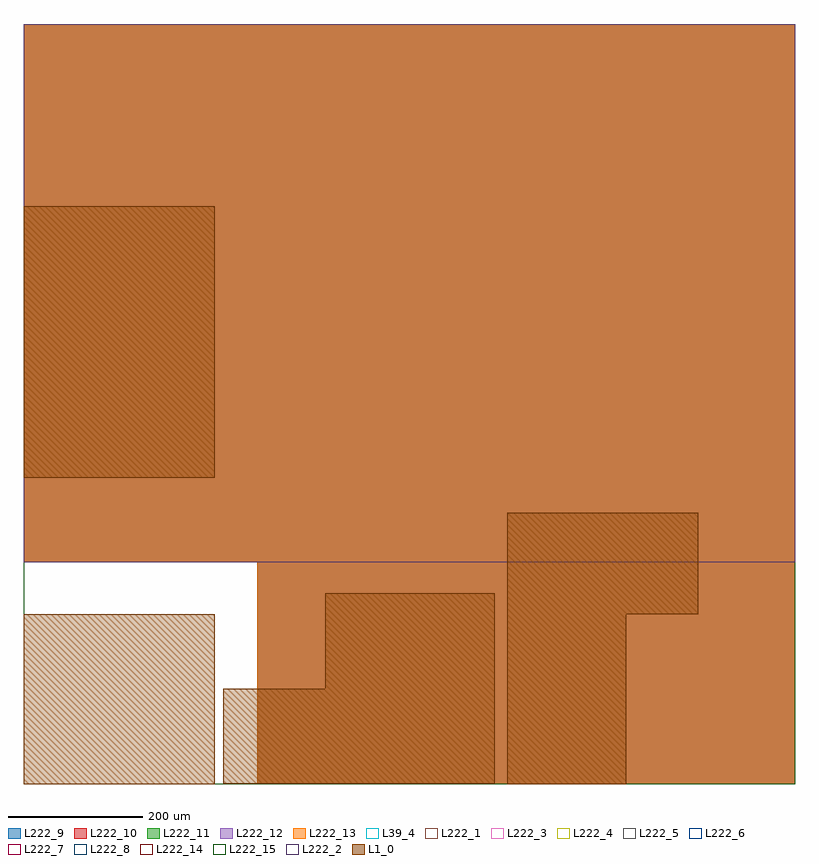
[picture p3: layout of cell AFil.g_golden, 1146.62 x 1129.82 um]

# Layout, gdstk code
import gdstk
lib = gdstk.Library(unit=1e-6, precision=1e-09)
def R(c, l, rs):  # rectangles x0, y0, x1, y1
    for r in rs: c.add(gdstk.rectangle(r[:2], r[2:], *l))
def A(c, l, x, y, w, h, nx, ny, dx, dy):  # array of equal rectangles
    R(c, l, [(x+i*dx, y+j*dy, x+i*dx+w, y+j*dy+h) for i in range(nx) for j in range(ny)])
L1_0 = (1, 0)
L39_4 = (39, 4)
L222_1 = (222, 1)
L222_2 = (222, 2)
L222_3 = (222, 3)
L222_4 = (222, 4)
L222_5 = (222, 5)
L222_6 = (222, 6)
L222_7 = (222, 7)
L222_8 = (222, 8)
L222_9 = (222, 9)
L222_10 = (222, 10)
L222_11 = (222, 11)
L222_12 = (222, 12)
L222_13 = (222, 13)
L222_14 = (222, 14)
L222_15 = (222, 15)

afil_g_golden = lib.new_cell('AFil.g_golden')
A(afil_g_golden, L1_0, 0, 0, 35, 50, 8, 5, 35.5, 50.5)
A(afil_g_golden, L1_0, 718.9, 0, 35, 50, 5, 5, 35.5, 50.5)
A(afil_g_golden, L1_0, 296.58, 0.03, 50, 35, 8, 4, 50.5, 35.5)
A(afil_g_golden, L1_0, 448.08, 142.03, 50, 35, 5, 4, 50.5, 35.5)
A(afil_g_golden, L1_0, 718.9, 252.5, 35, 50, 8, 3, 35.5, 50.5)
A(afil_g_golden, L1_0, 0, 455.31, 35, 50, 8, 8, 35.5, 50.5)
R(afil_g_golden, L39_4, [(0,0,1146.62,1129.82)])
R(afil_g_golden, L222_1, [(0,0,1146.62,1129.82)])
R(afil_g_golden, L222_2, [(0,329.82,800,1129.82), (346.62,329.82,1146.62,1129.82)])
R(afil_g_golden, L222_3, [(0,0,1146.62,1129.82)])
R(afil_g_golden, L222_4, [(0,0,1146.62,1129.82)])
R(afil_g_golden, L222_5, [(0,0,1146.62,1129.82)])
R(afil_g_golden, L222_6, [(0,0,1146.62,1129.82)])
R(afil_g_golden, L222_7, [(0,0,1146.62,1129.82)])
R(afil_g_golden, L222_8, [(0,0,1146.62,1129.82)])
R(afil_g_golden, L222_9, [(346.62,0,1146.62,800), (0,329.82,800,1129.82), (346.62,329.82,1146.62,1129.82)])
R(afil_g_golden, L222_10, [(346.62,0,1146.62,800), (0,329.82,800,1129.82), (346.62,329.82,1146.62,1129.82)])
R(afil_g_golden, L222_11, [(346.62,0,1146.62,800), (0,329.82,800,1129.82), (346.62,329.82,1146.62,1129.82)])
R(afil_g_golden, L222_12, [(346.62,0,1146.62,800), (0,329.82,800,1129.82), (346.62,329.82,1146.62,1129.82)])
R(afil_g_golden, L222_13, [(346.62,0,1146.62,800), (0,329.82,800,1129.82), (346.62,329.82,1146.62,1129.82)])
R(afil_g_golden, L222_14, [(0,0,1146.62,1129.82)])
R(afil_g_golden, L222_15, [(0,0,1146.62,1129.82)])

lib.write_gds('AFil.g_golden.gds')
